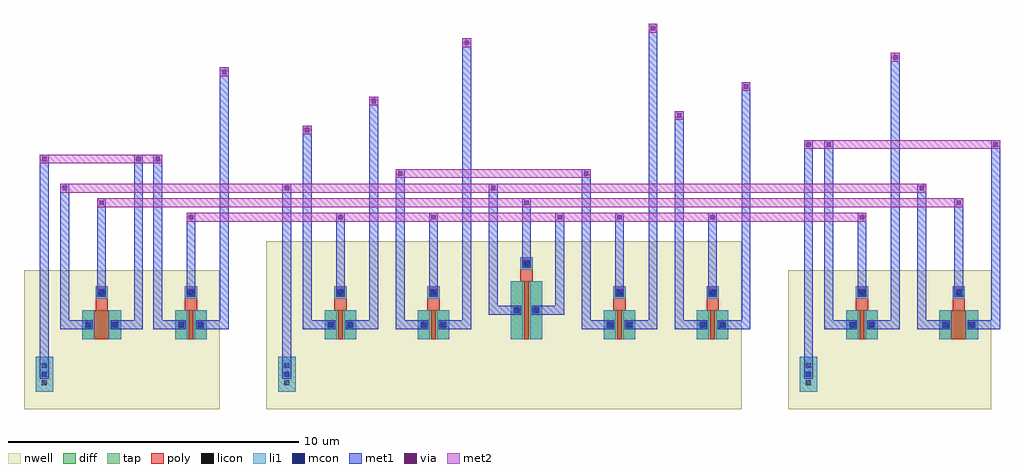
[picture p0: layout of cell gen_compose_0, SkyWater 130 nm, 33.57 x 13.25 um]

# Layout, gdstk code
import gdstk
lib = gdstk.Library(unit=1e-6, precision=1e-09)
def R(c, l, rs):  # rectangles x0, y0, x1, y1
    for r in rs: c.add(gdstk.rectangle(r[:2], r[2:], *l))
nwell = (64, 20)
diff = (65, 20)
tap = (65, 44)
poly = (66, 20)
licon = (66, 44)
li1 = (67, 20)
mcon = (67, 44)
met1 = (68, 20)
via = (68, 44)
met2 = (69, 20)

mos_array = lib.new_cell('mos_array')
R(mos_array, nwell, [(-0.15,-0.15,1.49,1.97)])
R(mos_array, diff, [(0,0,1.34,1)])
R(mos_array, poly, [(0.42,0,0.92,1), (0.46,1,0.88,1.82)])
R(mos_array, licon, [(0.1,0.39,0.32,0.61), (1.02,0.39,1.24,0.61), (0.56,1.5,0.78,1.72)])
R(mos_array, li1, [(0,0,0.42,1), (0.92,0,1.34,1), (0.46,1.4,0.88,1.82)])

sa_p__sa_p = lib.new_cell('sa_p__SA_P')
sa_p__sa_p.add(gdstk.Reference(mos_array, (0,0)))

mos_array_1 = lib.new_cell('mos_array$1')
R(mos_array_1, nwell, [(-0.15,-0.15,1.24,1.97)])
R(mos_array_1, diff, [(0,0,1.09,1)])
R(mos_array_1, poly, [(0.47,0,0.62,1), (0.335,1,0.755,1.82)])
R(mos_array_1, licon, [(0.1,0.39,0.32,0.61), (0.77,0.39,0.99,0.61), (0.435,1.5,0.655,1.72)])
R(mos_array_1, li1, [(0,0,0.42,1), (0.67,0,1.09,1), (0.335,1.4,0.755,1.82)])

se_p__se_p = lib.new_cell('se_p__SE_P')
se_p__se_p.add(gdstk.Reference(mos_array_1, (0,0)))

mos_array_2 = lib.new_cell('mos_array$2')
R(mos_array_2, nwell, [(-0.15,-0.15,1.24,1.97)])
R(mos_array_2, diff, [(0,0,1.09,1)])
R(mos_array_2, poly, [(0.47,0,0.62,1), (0.335,1,0.755,1.82)])
R(mos_array_2, licon, [(0.1,0.39,0.32,0.61), (0.77,0.39,0.99,0.61), (0.435,1.5,0.655,1.72)])
R(mos_array_2, li1, [(0,0,0.42,1), (0.67,0,1.09,1), (0.335,1.4,0.755,1.82)])

scp_p__scp_p = lib.new_cell('scp_p__SCP_P')
scp_p__scp_p.add(gdstk.Reference(mos_array_2, (0,0)))

mos_array_3 = lib.new_cell('mos_array$3')
R(mos_array_3, nwell, [(-0.15,-0.15,1.24,1.97)])
R(mos_array_3, diff, [(0,0,1.09,1)])
R(mos_array_3, poly, [(0.47,0,0.62,1), (0.335,1,0.755,1.82)])
R(mos_array_3, licon, [(0.1,0.39,0.32,0.61), (0.77,0.39,0.99,0.61), (0.435,1.5,0.655,1.72)])
R(mos_array_3, li1, [(0,0,0.42,1), (0.67,0,1.09,1), (0.335,1.4,0.755,1.82)])

cmswp_p__cmswp_p = lib.new_cell('cmswp_p__CMSWP_P')
cmswp_p__cmswp_p.add(gdstk.Reference(mos_array_3, (0,0)))

mos_array_4 = lib.new_cell('mos_array$4')
R(mos_array_4, nwell, [(-0.15,-0.15,1.24,2.97)])
R(mos_array_4, diff, [(0,0,1.09,2)])
R(mos_array_4, poly, [(0.47,0,0.62,2), (0.335,2,0.755,2.82)])
R(mos_array_4, licon, [(0.1,0.89,0.32,1.11), (0.77,0.89,0.99,1.11), (0.435,2.5,0.655,2.72)])
R(mos_array_4, li1, [(0,0,0.42,2), (0.67,0,1.09,2), (0.335,2.4,0.755,2.82)])

invp__invp = lib.new_cell('invp__INVP')
invp__invp.add(gdstk.Reference(mos_array_4, (0,0)))

mos_array_5 = lib.new_cell('mos_array$5')
R(mos_array_5, nwell, [(-0.15,-0.15,1.24,1.97)])
R(mos_array_5, diff, [(0,0,1.09,1)])
R(mos_array_5, poly, [(0.47,0,0.62,1), (0.335,1,0.755,1.82)])
R(mos_array_5, licon, [(0.1,0.39,0.32,0.61), (0.77,0.39,0.99,0.61), (0.435,1.5,0.655,1.72)])
R(mos_array_5, li1, [(0,0,0.42,1), (0.67,0,1.09,1), (0.335,1.4,0.755,1.82)])

cmswp_n__cmswp_n = lib.new_cell('cmswp_n__CMSWP_N')
cmswp_n__cmswp_n.add(gdstk.Reference(mos_array_5, (0,0)))

mos_array_6 = lib.new_cell('mos_array$6')
R(mos_array_6, nwell, [(-0.15,-0.15,1.24,1.97)])
R(mos_array_6, diff, [(0,0,1.09,1)])
R(mos_array_6, poly, [(0.47,0,0.62,1), (0.335,1,0.755,1.82)])
R(mos_array_6, licon, [(0.1,0.39,0.32,0.61), (0.77,0.39,0.99,0.61), (0.435,1.5,0.655,1.72)])
R(mos_array_6, li1, [(0,0,0.42,1), (0.67,0,1.09,1), (0.335,1.4,0.755,1.82)])

scp_n__scp_n = lib.new_cell('scp_n__SCP_N')
scp_n__scp_n.add(gdstk.Reference(mos_array_6, (0,0)))

mos_array_7 = lib.new_cell('mos_array$7')
R(mos_array_7, nwell, [(-0.15,-0.15,1.24,1.97)])
R(mos_array_7, diff, [(0,0,1.09,1)])
R(mos_array_7, poly, [(0.47,0,0.62,1), (0.335,1,0.755,1.82)])
R(mos_array_7, licon, [(0.1,0.39,0.32,0.61), (0.77,0.39,0.99,0.61), (0.435,1.5,0.655,1.72)])
R(mos_array_7, li1, [(0,0,0.42,1), (0.67,0,1.09,1), (0.335,1.4,0.755,1.82)])

se_n__se_n = lib.new_cell('se_n__SE_N')
se_n__se_n.add(gdstk.Reference(mos_array_7, (0,0)))

mos_array_8 = lib.new_cell('mos_array$8')
R(mos_array_8, nwell, [(-0.15,-0.15,1.49,1.97)])
R(mos_array_8, diff, [(0,0,1.34,1)])
R(mos_array_8, poly, [(0.42,0,0.92,1), (0.46,1,0.88,1.82)])
R(mos_array_8, licon, [(0.1,0.39,0.32,0.61), (1.02,0.39,1.24,0.61), (0.56,1.5,0.78,1.72)])
R(mos_array_8, li1, [(0,0,0.42,1), (0.92,0,1.34,1), (0.46,1.4,0.88,1.82)])

sa_n__sa_n = lib.new_cell('sa_n__SA_N')
sa_n__sa_n.add(gdstk.Reference(mos_array_8, (0,0)))

route__route = lib.new_cell('route__ROUTE')
R(route__route, nwell, [(0,-2.4,6.74,2.37), (8.34,-2.4,24.68,3.37), (26.28,-2.4,33.27,2.37)])
R(route__route, tap, [(0.4,-1.8,1,-0.6), (8.74,-1.8,9.34,-0.6), (26.68,-1.8,27.28,-0.6)])
R(route__route, licon, [(0.615,-1.585,0.785,-1.415), (8.955,-1.585,9.125,-1.415), (26.895,-1.585,27.065,-1.415), (0.615,-0.985,0.785,-0.815), (8.955,-0.985,9.125,-0.815), (26.895,-0.985,27.065,-0.815)])
R(route__route, li1, [(0.4,-1.8,1,-0.6), (8.74,-1.8,9.34,-0.6), (26.68,-1.8,27.28,-0.6)])
R(route__route, mcon, [(0.615,-1.285,0.785,-1.115), (8.955,-1.285,9.125,-1.115), (26.895,-1.285,27.065,-1.115), (2.125,0.415,2.295,0.585), (3.045,0.415,3.215,0.585), (5.325,0.415,5.495,0.585), (5.995,0.415,6.165,0.585), (10.465,0.415,10.635,0.585), (11.135,0.415,11.305,0.585), (13.665,0.415,13.835,0.585), (14.335,0.415,14.505,0.585), (20.065,0.415,20.235,0.585), (20.735,0.415,20.905,0.585), (23.265,0.415,23.435,0.585), (23.935,0.415,24.105,0.585), (28.405,0.415,28.575,0.585), (29.075,0.415,29.245,0.585), (31.605,0.415,31.775,0.585), (32.525,0.415,32.695,0.585), (16.865,0.915,17.035,1.085), (17.535,0.915,17.705,1.085), (2.585,1.525,2.755,1.695), (5.66,1.525,5.83,1.695), (10.8,1.525,10.97,1.695), (14,1.525,14.17,1.695), (20.4,1.525,20.57,1.695), (23.6,1.525,23.77,1.695), (28.74,1.525,28.91,1.695), (32.065,1.525,32.235,1.695), (17.2,2.525,17.37,2.695)])
R(route__route, met1, [(0.55,-1.35,0.85,-1.05), (0.55,-1.35,0.85,6.35), (8.89,-1.35,9.19,-1.05), (8.89,-1.35,9.19,5.35), (26.83,-1.35,27.13,-1.05), (26.83,-1.35,27.13,6.85), (1.25,0.35,2.36,0.65), (1.25,0.35,1.55,5.35), (2.98,0.35,4.09,0.65), (3.79,0.35,4.09,6.35), (4.45,0.35,5.56,0.65), (4.45,0.35,4.75,6.35), (5.93,0.35,7.04,0.65), (6.74,0.35,7.04,9.35), (9.59,0.35,10.7,0.65), (9.59,0.35,9.89,7.35), (11.07,0.35,12.18,0.65), (11.88,0.35,12.18,8.35), (12.79,0.35,13.9,0.65), (12.79,0.35,13.09,5.85), (14.27,0.35,15.38,0.65), (15.08,0.35,15.38,10.35), (19.19,0.35,20.3,0.65), (19.19,0.35,19.49,5.85), (20.67,0.35,21.78,0.65), (21.48,0.35,21.78,10.85), (22.39,0.35,23.5,0.65), (22.39,0.35,22.69,7.85), (23.87,0.35,24.98,0.65), (24.68,0.35,24.98,8.85), (27.53,0.35,28.64,0.65), (27.53,0.35,27.83,6.85), (29.01,0.35,30.12,0.65), (29.82,0.35,30.12,9.85), (30.73,0.35,31.84,0.65), (30.73,0.35,31.03,5.35), (32.46,0.35,33.57,0.65), (33.27,0.35,33.57,6.85), (15.99,0.85,17.1,1.15), (15.99,0.85,16.29,5.35), (17.47,0.85,18.58,1.15), (18.28,0.85,18.58,4.35), (2.52,1.46,2.82,1.76), (2.52,1.46,2.82,4.85), (5.595,1.46,5.895,1.76), (5.595,1.46,5.895,4.35), (10.735,1.46,11.035,1.76), (10.735,1.46,11.035,4.35), (13.935,1.46,14.235,1.76), (13.935,1.46,14.235,4.35), (20.335,1.46,20.635,1.76), (20.335,1.46,20.635,4.35), (23.535,1.46,23.835,1.76), (23.535,1.46,23.835,4.35), (28.675,1.46,28.975,1.76), (28.675,1.46,28.975,4.35), (32,1.46,32.3,1.76), (32,1.46,32.3,4.85), (17.135,2.46,17.435,2.76), (17.135,2.46,17.435,4.85), (5.595,4.05,5.895,4.35), (10.735,4.05,11.035,4.35), (13.935,4.05,14.235,4.35), (18.28,4.05,18.58,4.35), (20.335,4.05,20.635,4.35), (23.535,4.05,23.835,4.35), (28.675,4.05,28.975,4.35), (2.52,4.55,2.82,4.85), (17.135,4.55,17.435,4.85), (32,4.55,32.3,4.85), (1.25,5.05,1.55,5.35), (8.89,5.05,9.19,5.35), (15.99,5.05,16.29,5.35), (30.73,5.05,31.03,5.35), (12.79,5.55,13.09,5.85), (19.19,5.55,19.49,5.85), (0.55,6.05,0.85,6.35), (3.79,6.05,4.09,6.35), (4.45,6.05,4.75,6.35), (26.83,6.55,27.13,6.85), (27.53,6.55,27.83,6.85), (33.27,6.55,33.57,6.85), (9.59,7.05,9.89,7.35), (22.39,7.55,22.69,7.85), (11.88,8.05,12.18,8.35), (24.68,8.55,24.98,8.85), (6.74,9.05,7.04,9.35), (29.82,9.55,30.12,9.85), (15.08,10.05,15.38,10.35), (21.48,10.55,21.78,10.85)])
R(route__route, via, [(5.67,4.125,5.82,4.275), (10.81,4.125,10.96,4.275), (14.01,4.125,14.16,4.275), (18.355,4.125,18.505,4.275), (20.41,4.125,20.56,4.275), (23.61,4.125,23.76,4.275), (28.75,4.125,28.9,4.275), (2.595,4.625,2.745,4.775), (17.21,4.625,17.36,4.775), (32.075,4.625,32.225,4.775), (1.325,5.125,1.475,5.275), (8.965,5.125,9.115,5.275), (16.065,5.125,16.215,5.275), (30.805,5.125,30.955,5.275), (12.865,5.625,13.015,5.775), (19.265,5.625,19.415,5.775), (0.625,6.125,0.775,6.275), (3.865,6.125,4.015,6.275), (4.525,6.125,4.675,6.275), (26.905,6.625,27.055,6.775), (27.605,6.625,27.755,6.775), (33.345,6.625,33.495,6.775), (9.665,7.125,9.815,7.275), (22.465,7.625,22.615,7.775), (11.955,8.125,12.105,8.275), (24.755,8.625,24.905,8.775), (6.815,9.125,6.965,9.275), (29.895,9.625,30.045,9.775), (15.155,10.125,15.305,10.275), (21.555,10.625,21.705,10.775)])
R(route__route, met2, [(5.595,4.05,28.975,4.35), (2.52,4.55,32.3,4.85), (1.25,5.05,31.03,5.35), (12.79,5.55,19.49,5.85), (0.55,6.05,4.75,6.35), (26.83,6.55,33.57,6.85), (9.59,7.05,9.89,7.35), (22.39,7.55,22.69,7.85), (11.88,8.05,12.18,8.35), (24.68,8.55,24.98,8.85), (6.74,9.05,7.04,9.35), (29.82,9.55,30.12,9.85), (15.08,10.05,15.38,10.35), (21.48,10.55,21.78,10.85)])
route__route.add(gdstk.Label('SAMPLEB', (5.745,4.2), layer=69, texttype=5))
route__route.add(gdstk.Label('SAMPLE', (2.67,4.7), layer=69, texttype=5))
route__route.add(gdstk.Label('VDD', (1.4,5.2), layer=69, texttype=5))
route__route.add(gdstk.Label('VCM', (12.94,5.7), layer=69, texttype=5))
route__route.add(gdstk.Label('BOOST_P', (0.7,6.2), layer=69, texttype=5))
route__route.add(gdstk.Label('BOOST_N', (26.98,6.7), layer=69, texttype=5))
route__route.add(gdstk.Label('VINP', (9.74,7.2), layer=69, texttype=5))
route__route.add(gdstk.Label('VINN', (22.54,7.7), layer=69, texttype=5))
route__route.add(gdstk.Label('BSBOT_P', (12.03,8.2), layer=69, texttype=5))
route__route.add(gdstk.Label('BSBOT_N', (24.83,8.7), layer=69, texttype=5))
route__route.add(gdstk.Label('G_P', (6.89,9.2), layer=69, texttype=5))
route__route.add(gdstk.Label('G_N', (29.97,9.7), layer=69, texttype=5))
route__route.add(gdstk.Label('BPREF_P', (15.23,10.2), layer=69, texttype=5))
route__route.add(gdstk.Label('BPREF_N', (21.63,10.7), layer=69, texttype=5))

gen_compose_0 = lib.new_cell('gen_compose_0')
gen_compose_0.add(gdstk.Reference(sa_p__sa_p, (2,0)))
gen_compose_0.add(gdstk.Reference(se_p__se_p, (5.2,0)))
gen_compose_0.add(gdstk.Reference(scp_p__scp_p, (10.34,0)))
gen_compose_0.add(gdstk.Reference(cmswp_p__cmswp_p, (13.54,0)))
gen_compose_0.add(gdstk.Reference(invp__invp, (16.74,0)))
gen_compose_0.add(gdstk.Reference(cmswp_n__cmswp_n, (19.94,0)))
gen_compose_0.add(gdstk.Reference(scp_n__scp_n, (23.14,0)))
gen_compose_0.add(gdstk.Reference(se_n__se_n, (28.28,0)))
gen_compose_0.add(gdstk.Reference(sa_n__sa_n, (31.48,0)))
gen_compose_0.add(gdstk.Reference(route__route, (0,0)))

lib.write_gds('gen_compose_0.gds')
